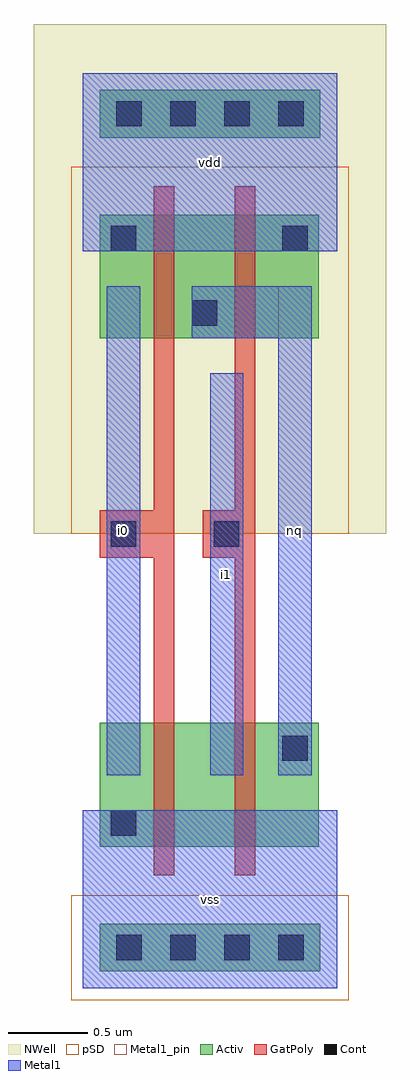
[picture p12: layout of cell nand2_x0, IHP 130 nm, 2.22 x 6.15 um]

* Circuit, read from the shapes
.subckt nand2_x0 i0 i1 nq vdd vss
XM1 n1 i0 vss vss sg13_lv_nmos w=0.78u l=0.13u
XM2 nq i1 n1 vss sg13_lv_nmos w=0.78u l=0.13u
XM3 nq i0 vdd vdd sg13_lv_pmos w=0.78u l=0.13u
XM4 vdd i1 nq vdd sg13_lv_pmos w=0.78u l=0.13u
.ends

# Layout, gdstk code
import gdstk
lib = gdstk.Library(unit=1e-6, precision=1e-09)
def R(c, l, rs):  # rectangles x0, y0, x1, y1
    for r in rs: c.add(gdstk.rectangle(r[:2], r[2:], *l))
def A(c, l, x, y, w, h, nx, ny, dx, dy):  # array of equal rectangles
    R(c, l, [(x+i*dx, y+j*dy, x+i*dx+w, y+j*dy+h) for i in range(nx) for j in range(ny)])
def P(c, l, *ps):  # polygons
    for p in ps: c.add(gdstk.Polygon(p, *l))
Activ = (1, 0)
GatPoly = (5, 0)
Cont = (6, 0)
Metal1 = (8, 0)
Metal1_pin = (8, 2)
pSD = (14, 0)
NWell = (31, 0)

nand2_x0 = lib.new_cell('nand2_x0')
R(nand2_x0, Activ, [(0.105,0.105,1.495,0.405), (0.105,0.89,1.485,1.67), (0.105,4.09,1.485,4.87), (0.105,5.355,1.495,5.655)])
P(nand2_x0, GatPoly, [(0.445,0.71),(0.445,2.71),(0.105,2.71),(0.105,3.01),(0.445,3.01),(0.445,5.05),(0.575,5.05),(0.575,0.71)],
  [(0.955,0.71),(0.955,2.71),(0.755,2.71),(0.755,3.01),(0.955,3.01),(0.955,5.05),(1.085,5.05),(1.085,0.71)])
A(nand2_x0, Cont, 0.21, 0.175, 0.16, 0.16, 4, 2, 0.34, 5.25)
R(nand2_x0, Cont, [(0.175,0.96,0.335,1.12), (1.255,1.43,1.415,1.59), (0.175,2.78,0.335,2.94), (0.825,2.78,0.985,2.94), (0.685,4.17,0.845,4.33), (0.175,4.64,0.335,4.8), (1.255,4.64,1.415,4.8)])
R(nand2_x0, Metal1, [(0,0,1.6,1.12), (0.15,1.34,0.36,4.42), (0.8,1.34,1.01,3.87), (0,4.64,1.6,5.76)])
P(nand2_x0, Metal1, [(1.23,1.34),(1.23,4.09),(0.685,4.09),(0.685,4.42),(1.44,4.42),(1.44,1.34)])
R(nand2_x0, Metal1_pin, [(0,0,1.6,1.12), (0.15,1.34,0.36,4.42), (0.8,1.34,1.01,3.87), (1.23,1.34,1.44,4.42), (0,4.64,1.6,5.76)])
R(nand2_x0, pSD, [(-0.075,-0.075,1.675,0.585), (-0.075,2.86,1.675,5.17)])
R(nand2_x0, NWell, [(-0.31,2.86,1.91,6.07)])
nand2_x0.add(gdstk.Label('vss', (0.8,0.56), layer=8, texttype=2))
nand2_x0.add(gdstk.Label('vdd', (0.8,5.2), layer=8, texttype=2))
nand2_x0.add(gdstk.Label('i0', (0.255,2.88), layer=8, texttype=2))
nand2_x0.add(gdstk.Label('nq', (1.335,2.88), layer=8, texttype=2))
nand2_x0.add(gdstk.Label('i1', (0.905,2.605), layer=8, texttype=2))

lib.write_gds('nand2_x0.gds')
